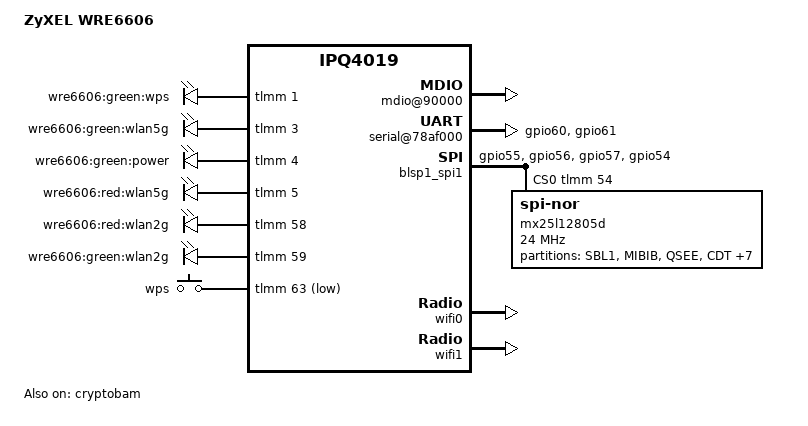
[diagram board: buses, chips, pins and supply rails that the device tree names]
/* Copyright (c) 2015, The Linux Foundation. All rights reserved.
 * Copyright (c) 2018, David Bauer <mail@david-bauer.net>
 *
 * Permission to use, copy, modify, and/or distribute this software for any
 * purpose with or without fee is hereby granted, provided that the above
 * copyright notice and this permission notice appear in all copies.
 *
 * THE SOFTWARE IS PROVIDED "AS IS" AND THE AUTHOR DISCLAIMS ALL WARRANTIES
 * WITH REGARD TO THIS SOFTWARE INCLUDING ALL IMPLIED WARRANTIES OF
 * MERCHANTABILITY AND FITNESS. IN NO EVENT SHALL THE AUTHOR BE LIABLE FOR
 * ANY SPECIAL, DIRECT, INDIRECT, OR CONSEQUENTIAL DAMAGES OR ANY DAMAGES
 * WHATSOEVER RESULTING FROM LOSS OF USE, DATA OR PROFITS, WHETHER IN AN
 * ACTION OF CONTRACT, NEGLIGENCE OR OTHER TORTIOUS ACTION, ARISING OUT OF
 * OR IN CONNECTION WITH THE USE OR PERFORMANCE OF THIS SOFTWARE.
 *
 */

#include "qcom-ipq4019.dtsi"
#include <dt-bindings/gpio/gpio.h>
#include <dt-bindings/input/input.h>
#include <dt-bindings/soc/qcom,tcsr.h>

/ {
	model = "ZyXEL WRE6606";
	compatible = "zyxel,wre6606", "qcom,ipq4019";

	aliases {
		led-boot = &power;
		led-failsafe = &power;
		led-running = &power;
		led-upgrade = &power;
	};

	chosen {
		bootargs-append = " mtdparts=";
	};

	soc {
		mdio@90000 {
			status = "okay";
		};

		ess-psgmii@98000 {
			status = "okay";
		};

		tcsr@1949000 {
			compatible = "qcom,tcsr";
			reg = <0x1949000 0x100>;
			qcom,wifi_glb_cfg = <TCSR_WIFI_GLB_CFG>;
		};

		ess_tcsr@1953000 {
			compatible = "qcom,tcsr";
			reg = <0x1953000 0x1000>;
			qcom,ess-interface-select = <TCSR_ESS_PSGMII>;
		};

		tcsr@1957000 {
			compatible = "qcom,tcsr";
			reg = <0x1957000 0x100>;
			qcom,wifi_noc_memtype_m0_m2 = <TCSR_WIFI_NOC_MEMTYPE_M0_M2>;
		};

		serial@78af000 {
			pinctrl-0 = <&serial_pins>;
			pinctrl-names = "default";
			status = "okay";
		};

		crypto@8e3a000 {
			status = "okay";
		};

		watchdog@b017000 {
			status = "okay";
		};

		ess-switch@c000000 {
			status = "okay";
		};

		edma@c080000 {
			status = "okay";
			qcom,num_gmac = <1>;
		};
	};

	gpio-leds {
		compatible = "gpio-leds";

		wps {
			label = "wre6606:green:wps";
			gpios = <&tlmm 1 GPIO_ACTIVE_HIGH>;
		};

		wlan5g_green {
			label = "wre6606:green:wlan5g";
			gpios = <&tlmm 3 GPIO_ACTIVE_HIGH>;
		};

		power: power {
			label = "wre6606:green:power";
			gpios = <&tlmm 4 GPIO_ACTIVE_HIGH>;
		};

		wlan5g_red {
			label = "wre6606:red:wlan5g";
			gpios = <&tlmm 5 GPIO_ACTIVE_HIGH>;
		};

		wlan2g_red {
			label = "wre6606:red:wlan2g";
			gpios = <&tlmm 58 GPIO_ACTIVE_HIGH>;
		};

		wlan2g_green {
			label = "wre6606:green:wlan2g";
			gpios = <&tlmm 59 GPIO_ACTIVE_HIGH>;
		};
	};

	gpio-keys {
		compatible = "gpio-keys";

		wps {
			label = "wps";
			gpios = <&tlmm 63 GPIO_ACTIVE_LOW>;
			linux,code = <KEY_WPS_BUTTON>;
		};
	};
};

&tlmm {
	serial_pins: serial_pinmux {
		mux {
			pins = "gpio60", "gpio61";
			function = "blsp_uart0";
			bias-disable;
		};
	};

	spi_0_pins: spi_0_pinmux {
		pin {
			function = "blsp_spi0";
			pins = "gpio55", "gpio56", "gpio57";
			drive-strength = <12>;
			bias-disable;
		};
		pin_cs {
			function = "gpio";
			pins = "gpio54";
			drive-strength = <2>;
			bias-disable;
			output-high;
		};
	};
};

&blsp1_spi1 {
	pinctrl-0 = <&spi_0_pins>;
	pinctrl-names = "default";
	status = "okay";
	cs-gpios = <&tlmm 54 GPIO_ACTIVE_HIGH>;

	mx25l12805d@0 {
		compatible = "jedec,spi-nor";
		reg = <0>;
		spi-max-frequency = <24000000>;

		partitions {
			compatible = "fixed-partitions";
			#address-cells = <1>;
			#size-cells = <1>;

			partition0@0 {
				label = "SBL1";
				reg = <0x00000000 0x00040000>;
				read-only;
			};

			partition1@40000 {
				label = "MIBIB";
				reg = <0x00040000 0x00020000>;
				read-only;
			};

			partition2@60000 {
				label = "QSEE";
				reg = <0x00060000 0x00060000>;
				read-only;
			};

			partition3@c0000 {
				label = "CDT";
				reg = <0x000c0000 0x00010000>;
				read-only;
			};

			partition4@d0000 {
				label = "DDRPARAMS";
				reg = <0x000d0000 0x00010000>;
				read-only;
			};

			partition5@E0000 {
				label = "APPSBLENV";
				reg = <0x000e0000 0x00010000>;
				read-only;
			};

			partition6@F0000 {
				label = "APPSBL";
				reg = <0x000f0000 0x00080000>;
				read-only;
			};

			partition7@170000 {
				label = "ART";
				reg = <0x00170000 0x00010000>;
				read-only;
			};

			partition8@180000 {
				label = "firmware";
				reg = <0x00180000 0x00ce0000>;
			};

			partition9@e60000 {
				label = "manufacture";
				reg = <0x00e60000 0x00050000>;
				read-only;
			};

			partition10@eb0000 {
				label = "storage";
				reg = <0x00eb0000 0x00150000>;
				read-only;
			};
		};
	};
};

&blsp_dma {
	status = "okay";
};

&cryptobam {
	status = "okay";
};

&wifi0 {
	status = "okay";
	qcom,ath10k-calibration-variant = "ZyXEL-WRE6606";
};

&wifi1 {
	status = "okay";
	qcom,ath10k-calibration-variant = "ZyXEL-WRE6606";
};
